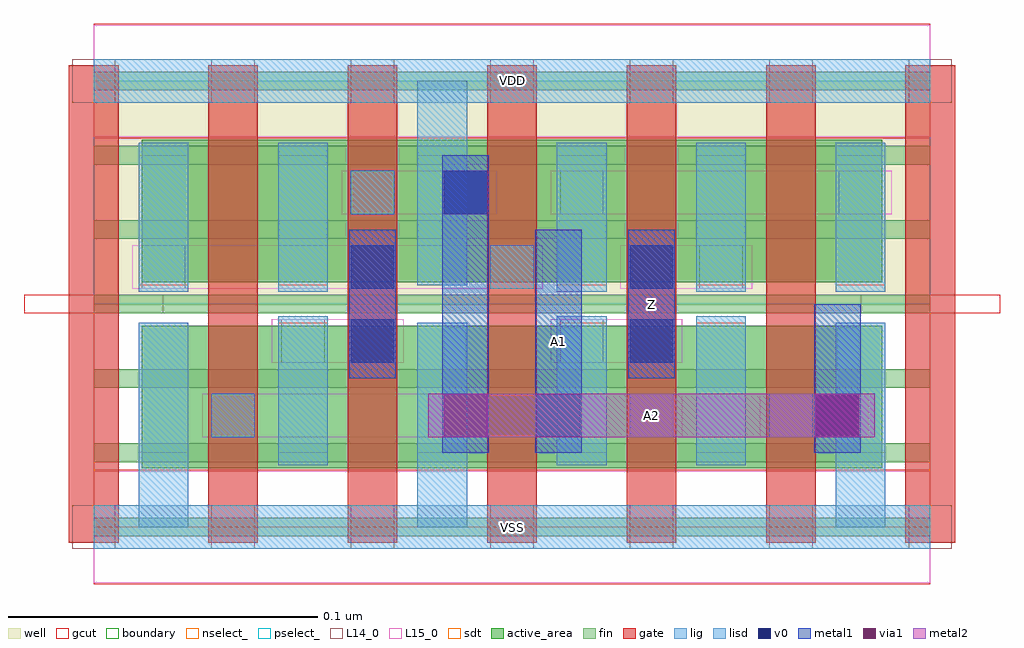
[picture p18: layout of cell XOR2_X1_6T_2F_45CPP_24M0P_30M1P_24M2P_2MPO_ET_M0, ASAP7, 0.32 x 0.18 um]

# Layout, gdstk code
import gdstk
lib = gdstk.Library(unit=1e-6, precision=2.5e-10)
def R(c, l, rs):  # rectangles x0, y0, x1, y1
    for r in rs: c.add(gdstk.rectangle(r[:2], r[2:], *l))
def A(c, l, x, y, w, h, nx, ny, dx, dy):  # array of equal rectangles
    R(c, l, [(x+i*dx, y+j*dy, x+i*dx+w, y+j*dy+h) for i in range(nx) for j in range(ny)])
well = (1, 0)
fin = (2, 0)
gate = (7, 0)
gcut = (10, 0)
active_area = (11, 0)
nselect_ = (12, 0)
pselect_ = (13, 0)
L14_0 = (14, 0)
L15_0 = (15, 0)
lig = (16, 0)
lisd = (17, 0)
v0 = (18, 0)
metal1 = (19, 0)
metal2 = (20, 0)
via1 = (21, 0)
sdt = (88, 0)
boundary = (100, 0)

xor2_x1_6t_2f_45cpp_24m0 = lib.new_cell('XOR2_X1_6T_2F_45CPP_24M0P_30M1P_24M2P_2MPO_ET_M0')
R(xor2_x1_6t_2f_45cpp_24m0, well, [(0,0.072,0.27,0.144)])
A(xor2_x1_6t_2f_45cpp_24m0, fin, 0, -0.003, 0.27, 0.006, 1, 7, 0, 0.024)
A(xor2_x1_6t_2f_45cpp_24m0, gate, -0.008, -0.005, 0.016, 0.154, 7, 1, 0.045, 0)
R(xor2_x1_6t_2f_45cpp_24m0, gcut, [(0,-0.0185,0.27,0.0185), (-0.0225,0.069,0.0225,0.075), (0.2475,0.069,0.2925,0.075), (0,0.1255,0.27,0.1625)])
A(xor2_x1_6t_2f_45cpp_24m0, active_area, 0.0155, 0.019, 0.059, 0.046, 5, 2, 0.045, 0.06)
R(xor2_x1_6t_2f_45cpp_24m0, nselect_, [(0,0,0.27,0.072)])
R(xor2_x1_6t_2f_45cpp_24m0, pselect_, [(0,0.072,0.27,0.144)])
A(xor2_x1_6t_2f_45cpp_24m0, L14_0, -0.007, -0.007, 0.014, 0.014, 7, 2, 0.045, 0.144)
R(xor2_x1_6t_2f_45cpp_24m0, L14_0, [(0.038,0.029,0.052,0.043), (0.173,0.029,0.187,0.043), (0.218,0.029,0.232,0.043), (0.0605,0.053,0.0745,0.067), (0.1505,0.053,0.1645,0.067), (0.0155,0.077,0.0295,0.091), (0.128,0.077,0.142,0.091), (0.1955,0.077,0.2095,0.091), (0.083,0.101,0.097,0.115), (0.1505,0.101,0.1645,0.115), (0.2405,0.101,0.2545,0.115)])
R(xor2_x1_6t_2f_45cpp_24m0, L15_0, [(0,-0.018,0.27,0.018), (0.035,0.029,0.19,0.043), (0.215,0.029,0.25,0.043), (0.0575,0.053,0.1,0.067), (0.1475,0.053,0.19,0.067), (0.0125,0.077,0.145,0.091), (0.17,0.077,0.2125,0.091), (0.08,0.101,0.13,0.115), (0.1475,0.101,0.2575,0.115), (0,0.126,0.27,0.162)])
R(xor2_x1_6t_2f_45cpp_24m0, lig, [(0,-0.007,0.27,0.007), (0.038,0.029,0.052,0.043), (0.173,0.029,0.187,0.043), (0.218,0.029,0.232,0.043), (0.128,0.077,0.142,0.091), (0.083,0.101,0.097,0.115), (0,0.137,0.27,0.151)])
A(xor2_x1_6t_2f_45cpp_24m0, lisd, 0.1495, 0.076, 0.016, 0.048, 3, 1, 0.045, 0)
R(xor2_x1_6t_2f_45cpp_24m0, lisd, [(0.0145,0,0.0305,0.066), (0.1045,0,0.1205,0.066), (0.2395,0,0.2555,0.066), (0.0595,0.02,0.0755,0.068), (0.1495,0.02,0.1655,0.068), (0.1945,0.02,0.2105,0.068), (0.0145,0.076,0.0305,0.124), (0.0595,0.076,0.0755,0.124), (0.1045,0.078,0.1205,0.144)])
R(xor2_x1_6t_2f_45cpp_24m0, v0, [(0.143,0.029,0.157,0.043), (0.233,0.029,0.247,0.043), (0.083,0.053,0.097,0.067), (0.173,0.053,0.187,0.067), (0.083,0.077,0.097,0.091), (0.173,0.077,0.187,0.091), (0.113,0.101,0.127,0.115)])
R(xor2_x1_6t_2f_45cpp_24m0, metal1, [(0.1125,0.024,0.1275,0.12), (0.1425,0.024,0.1575,0.096), (0.2325,0.024,0.2475,0.072), (0.0825,0.048,0.0975,0.096), (0.1725,0.048,0.1875,0.096)])
R(xor2_x1_6t_2f_45cpp_24m0, metal2, [(0.108,0.029,0.252,0.043)])
R(xor2_x1_6t_2f_45cpp_24m0, via1, [(0.113,0.029,0.127,0.043), (0.233,0.029,0.247,0.043)])
A(xor2_x1_6t_2f_45cpp_24m0, sdt, 0.0145, 0.024, 0.016, 0.042, 6, 2, 0.045, 0.054)
R(xor2_x1_6t_2f_45cpp_24m0, boundary, [(0,0,0.27,0.144)])
xor2_x1_6t_2f_45cpp_24m0.add(gdstk.Label('Z', (0.18,0.072), layer=19, texttype=251))
xor2_x1_6t_2f_45cpp_24m0.add(gdstk.Label('A1', (0.15,0.06), layer=19, texttype=251))
xor2_x1_6t_2f_45cpp_24m0.add(gdstk.Label('A2', (0.18,0.036), layer=20, texttype=251))
xor2_x1_6t_2f_45cpp_24m0.add(gdstk.Label('VDD', (0.135,0.144), layer=15, texttype=251))
xor2_x1_6t_2f_45cpp_24m0.add(gdstk.Label('VSS', (0.135,0), layer=15, texttype=251))
xor2_x1_6t_2f_45cpp_24m0.add(gdstk.Label('VDD', (0.135,0.144), layer=1, texttype=251))
xor2_x1_6t_2f_45cpp_24m0.add(gdstk.Label('VSS', (0.135,0), layer=3, texttype=251))

lib.write_gds('XOR2_X1_6T_2F_45CPP_24M0P_30M1P_24M2P_2MPO_ET_M0.gds')
